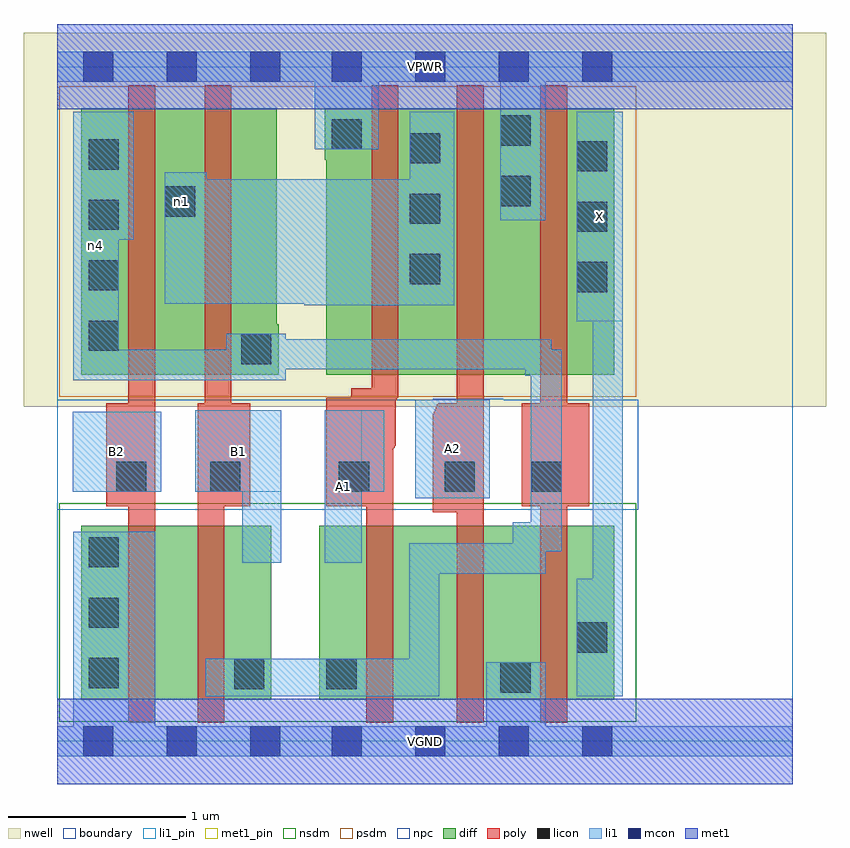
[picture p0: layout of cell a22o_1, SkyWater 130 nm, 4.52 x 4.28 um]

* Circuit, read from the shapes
.subckt a22o_1 A1 A2 B1 B2 VGND VPWR X n1 n4
XM1 n2 B2 VGND VSUBS sky130_fd_pr__nfet_01v8 w=0.98 l=0.15
XM2 n4 B1 n2 VSUBS sky130_fd_pr__nfet_01v8 w=0.98 l=0.15
XM3 n3 A1 n4 VSUBS sky130_fd_pr__nfet_01v8 w=0.98 l=0.15
XM4 VGND A2 n3 VSUBS sky130_fd_pr__nfet_01v8 w=0.98 l=0.15
XM5 X n4 VGND VSUBS sky130_fd_pr__nfet_01v8 w=0.98 l=0.15
XM6 n1 B2 n4 n5 sky130_fd_pr__pfet_01v8 w=1.5 l=0.15
XM7 n4 B1 n1 n5 sky130_fd_pr__pfet_01v8 w=1.5 l=0.15
XM8 n1 A1 VPWR n5 sky130_fd_pr__pfet_01v8 w=1.5 l=0.15
XM9 VPWR A2 n1 n5 sky130_fd_pr__pfet_01v8 w=1.5 l=0.15
XM10 X n4 VPWR n5 sky130_fd_pr__pfet_01v8 w=1.5 l=0.15
.ends

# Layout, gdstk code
import gdstk
lib = gdstk.Library(unit=1e-6, precision=1e-09)
def R(c, l, rs):  # rectangles x0, y0, x1, y1
    for r in rs: c.add(gdstk.rectangle(r[:2], r[2:], *l))
def A(c, l, x, y, w, h, nx, ny, dx, dy):  # array of equal rectangles
    R(c, l, [(x+i*dx, y+j*dy, x+i*dx+w, y+j*dy+h) for i in range(nx) for j in range(ny)])
nwell = (64, 20)
diff = (65, 20)
poly = (66, 20)
licon = (66, 44)
li1_pin = (67, 16)
li1 = (67, 20)
mcon = (67, 44)
met1_pin = (68, 16)
met1 = (68, 20)
nsdm = (93, 44)
psdm = (94, 20)
npc = (95, 20)
boundary = (235, 4)

a22o_1 = lib.new_cell('a22o_1')
R(a22o_1, nwell, [(-0.19,1.885,4.33,3.99), (0,1.885,4.14,3.99)])
R(a22o_1, diff, [(0.135,0.235,1.205,1.215), (1.475,0.235,3.135,1.215), (0.135,2.065,1.235,3.565), (0.135,2.065,1.245,2.35), (1.515,2.065,3.135,3.565), (1.505,3.275,3.135,3.565)])
R(a22o_1, poly, [(0.4,0.105,0.55,3.695), (0.79,0.105,0.94,1.905), (1.74,0.105,1.89,1.99), (2.25,0.105,2.4,3.695), (2.72,0.105,2.87,3.695), (2.115,1.29,2.4,1.845), (2.12,1.29,2.4,1.855), (2.125,1.29,2.4,1.87), (2.13,1.29,2.4,1.885), (2.135,1.29,2.4,1.9), (2.145,1.29,2.4,1.905), (0.275,1.325,0.55,1.905), (0.79,1.325,1.085,1.905), (0.83,1.325,0.98,3.695), (1.515,1.325,1.89,1.935), (2.615,1.325,2.995,1.905), (1.515,1.65,1.895,1.935), (1.515,1.655,1.9,1.935), (1.515,1.665,1.905,1.935), (1.515,1.92,1.91,1.935), (1.655,1.935,1.92,1.99), (1.77,1.935,1.92,3.695)])
A(a22o_1, licon, 0.175, 0.3, 0.17, 0.17, 1, 3, 0, 0.34)
A(a22o_1, licon, 0.175, 2.2, 0.17, 0.17, 1, 4, 0, 0.34)
A(a22o_1, licon, 2.925, 2.53, 0.17, 0.17, 1, 3, 0, 0.34)
A(a22o_1, licon, 1.985, 2.575, 0.17, 0.17, 1, 3, 0, 0.34)
R(a22o_1, licon, [(2.495,0.275,2.665,0.445), (0.995,0.295,1.165,0.465), (1.515,0.295,1.685,0.465), (2.925,0.5,3.095,0.67), (0.33,1.405,0.5,1.575), (0.86,1.405,1.03,1.575), (1.585,1.405,1.755,1.575), (2.18,1.405,2.35,1.575), (2.67,1.405,2.84,1.575), (1.035,2.125,1.205,2.295), (0.605,2.955,0.775,3.125), (2.495,3.015,2.665,3.185), (1.545,3.335,1.715,3.505), (2.495,3.355,2.665,3.525)])
R(a22o_1, li1_pin, [(1.505,1.005,1.715,1.865), (2.015,1.37,2.435,1.925), (0.085,1.405,0.585,1.855), (0.775,1.405,1.26,1.865), (2.925,2.365,3.185,3.545)])
R(a22o_1, li1, [(0,-0.085,4.14,0.085), (0.09,-0.085,0.55,1.18), (2.415,-0.085,2.75,0.445), (0.835,0.255,2.15,0.465), (1.98,0.255,2.15,1.115), (2.925,0.255,3.185,0.915), (3.015,0.255,3.185,3.545), (1.98,0.945,2.75,1.115), (2.565,0.945,2.75,1.235), (1.04,1.005,1.26,1.865), (1.505,1.005,1.715,1.865), (2.665,1.07,2.84,2.205), (2.015,1.37,2.435,1.925), (0.085,1.405,0.585,1.855), (0.775,1.405,1.26,1.865), (1.505,1.405,1.84,1.865), (0.09,2.035,0.345,3.545), (0.09,2.035,1.285,2.205), (0.95,2.035,1.285,2.295), (2.635,2.06,2.78,2.265), (0.95,2.095,2.78,2.265), (2.925,2.365,3.185,3.545), (1.39,2.455,2.235,3.165), (1.985,2.455,2.235,3.545), (0.605,2.465,2.235,3.165), (0.605,2.465,0.84,3.205), (0.09,2.825,0.43,3.545), (0.605,2.875,0.795,3.205), (2.495,2.935,2.75,3.885), (1.45,3.335,1.81,3.885), (0,3.715,4.14,3.885)])
A(a22o_1, mcon, 0.145, -0.085, 0.17, 0.17, 3, 2, 0.47, 3.8)
A(a22o_1, mcon, 1.545, -0.085, 0.17, 0.17, 4, 2, 0.47, 3.8)
R(a22o_1, met1_pin, [(0,-0.24,4.14,0.24), (0,3.56,4.14,4.04)])
R(a22o_1, met1, [(0,-0.24,4.14,0.24), (0,3.56,4.14,4.04)])
R(a22o_1, nsdm, [(0.01,0.11,3.26,1.34)])
R(a22o_1, psdm, [(0.01,1.94,3.26,3.69)])
R(a22o_1, npc, [(0,1.305,3.27,1.925), (2.115,1.305,2.51,1.93)])
R(a22o_1, boundary, [(0,0,4.14,3.8)])
a22o_1.add(gdstk.Label('A1', (1.61,1.435), layer=67, texttype=5))
a22o_1.add(gdstk.Label('A2', (2.225,1.647), layer=67, texttype=5))
a22o_1.add(gdstk.Label('B1', (1.017,1.635), layer=67, texttype=5))
a22o_1.add(gdstk.Label('B2', (0.335,1.63), layer=67, texttype=5))
a22o_1.add(gdstk.Label('X', (3.055,2.955), layer=67, texttype=5))
a22o_1.add(gdstk.Label('n4', (0.217,2.79), layer=67, texttype=5))
a22o_1.add(gdstk.Label('n1', (0.7,3.04), layer=67, texttype=5))
a22o_1.add(gdstk.Label('VPWR', (2.07,3.8), layer=68, texttype=5))
a22o_1.add(gdstk.Label('VGND', (2.07,0), layer=68, texttype=5))
a22o_1.add(gdstk.Label('A1', (1.61,1.435), layer=67, texttype=16))
a22o_1.add(gdstk.Label('A2', (2.225,1.647), layer=67, texttype=16))
a22o_1.add(gdstk.Label('B1', (1.017,1.635), layer=67, texttype=16))
a22o_1.add(gdstk.Label('B2', (0.335,1.63), layer=67, texttype=16))
a22o_1.add(gdstk.Label('X', (3.055,2.955), layer=67, texttype=16))
a22o_1.add(gdstk.Label('VPWR', (2.07,3.8), layer=68, texttype=16))
a22o_1.add(gdstk.Label('VGND', (2.07,0), layer=68, texttype=16))

lib.write_gds('a22o_1.gds')
